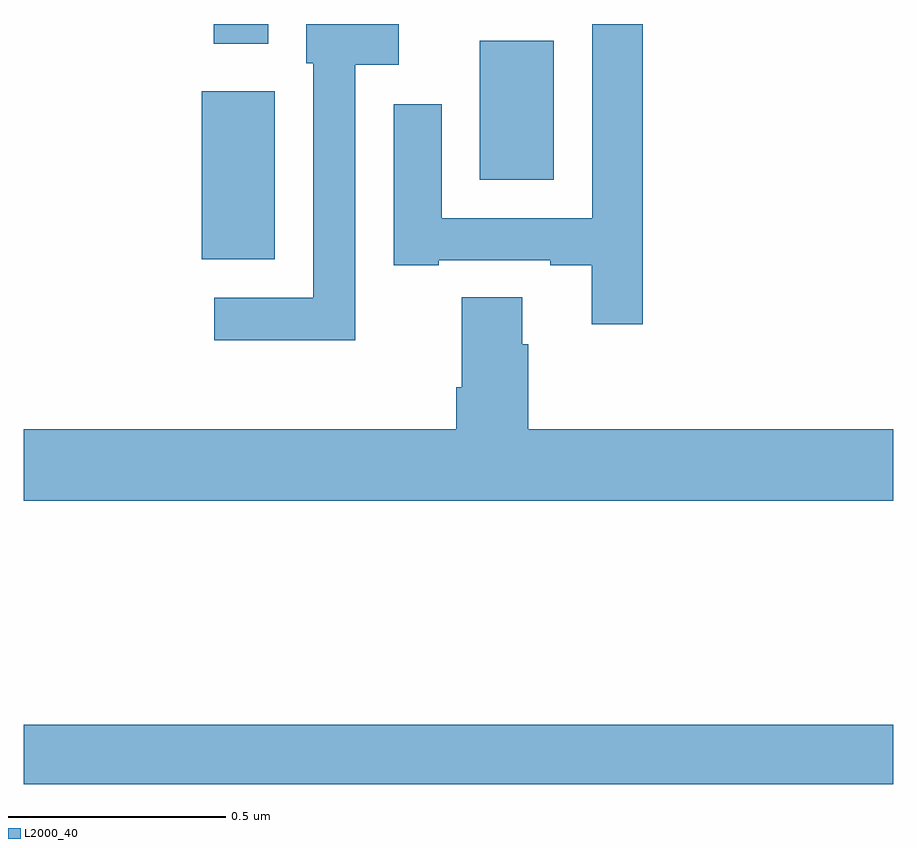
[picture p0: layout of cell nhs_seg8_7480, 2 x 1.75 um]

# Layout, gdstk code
import gdstk
lib = gdstk.Library(unit=1e-6, precision=1e-09)
def R(c, l, rs):  # rectangles x0, y0, x1, y1
    for r in rs: c.add(gdstk.rectangle(r[:2], r[2:], *l))
def P(c, l, *ps):  # polygons
    for p in ps: c.add(gdstk.Polygon(p, *l))
L2000_40 = (2000, 40)

nhs_seg8_7480 = lib.new_cell('nhs_seg8_7480')
R(nhs_seg8_7480, L2000_40, [(210,1145.152,212,1145.288), (210.41,1146.359,210.577,1146.745), (211.049,1146.542,211.219,1146.862), (210.437,1146.855,210.562,1146.9)])
P(nhs_seg8_7480, L2000_40, [(210.762,1146.806),(210.862,1146.806),(210.862,1146.9),(210.65,1146.9),(210.65,1146.81),(210.666,1146.81),(210.666,1146.27),(210.438,1146.27),(210.438,1146.173),(210.762,1146.173)],
  [(211.424,1146.9),(211.308,1146.9),(211.308,1146.453),(210.961,1146.453),(210.961,1146.715),(210.851,1146.715),(210.851,1146.345),(210.955,1146.345),(210.955,1146.357),(211.211,1146.357),(211.211,1146.345),(211.307,1146.345),(211.307,1146.21),(211.424,1146.21)],
  [(212,1145.968),(211.16,1145.968),(211.16,1146.164),(211.147,1146.164),(211.147,1146.272),(211.007,1146.272),(211.007,1146.064),(210.995,1146.064),(210.995,1145.968),(210,1145.968),(210,1145.804),(212,1145.804)])

lib.write_gds('nhs_seg8_7480.gds')
